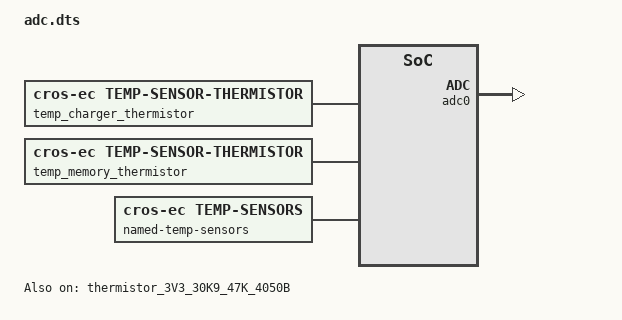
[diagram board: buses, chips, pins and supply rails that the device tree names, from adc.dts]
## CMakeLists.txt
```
# Copyright 2021 The ChromiumOS Authors
# Use of this source code is governed by a BSD-style license that can be
# found in the LICENSE file.

cmake_minimum_required(VERSION 3.13.1)

find_package(Zephyr REQUIRED HINTS "${ZEPHYR_BASE}")

zephyr_library_sources("src/common.c")
zephyr_library_sources("src/power_signals.c")

zephyr_library_sources_ifdef(CONFIG_PLATFORM_EC_USBC
	"src/usb_pd_policy.c"
	"src/usbc_config.c")
zephyr_library_sources_ifdef(CONFIG_PLATFORM_EC_LED_COMMON
	"src/led.c")
zephyr_library_sources_ifdef(CONFIG_PLATFORM_EC_AMD_STT
	"src/stt.c")
zephyr_library_sources_ifdef(CONFIG_PLATFORM_EC_BATTERY
  "battery_present.c")

if(DEFINED CONFIG_BOARD_MORTHAL)
	project(morthal)
	zephyr_library_sources(
		"src/morthal/ppc_config.c"
		"src/morthal/usb_mux_config.c"
)
endif()

if(DEFINED CONFIG_BOARD_SKYRIM)
	project(skyrim)
	cros_ec_library_include_directories_ifdef(CONFIG_BOARD_SKYRIM include)
	zephyr_library_sources(
			"src/skyrim/usb_mux_config.c"
			"src/skyrim/ppc_config.c"
			"src/skyrim/form_factor.c"
			"src/skyrim/alt_charger.c"
			"src/skyrim/keyboard.c"
	)
	zephyr_library_sources_ifdef(CONFIG_PLATFORM_EC_FAN "src/skyrim/fan.c")
endif()

if(DEFINED CONFIG_BOARD_WINTERHOLD)
	project(winterhold)
	zephyr_library_sources(
		"src/winterhold/usb_mux_config.c"
		"src/winterhold/ppc_config.c"
		"src/winterhold/kb_backlight.c"
		"src/winterhold/keyboard.c"
    )
endif()

if(DEFINED CONFIG_BOARD_FROSTFLOW)
	project(frostflow)
	cros_ec_library_include_directories_ifdef(CONFIG_BOARD_FROSTFLOW include)
	zephyr_include_directories("include/frostflow")
	zephyr_library_sources(
			"src/frostflow/usb_mux_config.c"
			"src/frostflow/ppc_config.c"
	)
	zephyr_library_sources_ifdef(CONFIG_PLATFORM_EC_KEYBOARD_CUSTOMIZATION
		"src/frostflow/keyboard.c"
		"src/frostflow/keyboard_customization.c")
endif()
```

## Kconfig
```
# Copyright 2021 The Chromium OS Authors. All rights reserved.
# Use of this source code is governed by a BSD-style license that can be
# found in the LICENSE file.

module = SKYRIM
module-str = Skyrim board-specific Code

config BOARD_SKYRIM
	bool "Google Skyrim Board"
	help
	  Build Google Skyrim reference board.  This board uses an AMD SoC
	  and NPCX9 EC

module = CHARGE
module-str = charge
source "subsys/logging/Kconfig.template.log_config"

module = SWITCH
module-str = switch
source "subsys/logging/Kconfig.template.log_config"


source "Kconfig.zephyr"
```

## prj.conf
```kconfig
# Copyright 2021 The ChromiumOS Authors
# Use of this source code is governed by a BSD-style license that can be
# found in the LICENSE file.

CONFIG_CROS_EC=y
CONFIG_PLATFORM_EC=y
CONFIG_SHIMMED_TASKS=y
CONFIG_ESPI=y

# Shell features
CONFIG_SHELL_HELP=y
CONFIG_SHELL_HISTORY=y
CONFIG_SHELL_TAB=y
CONFIG_SHELL_TAB_AUTOCOMPLETION=y
CONFIG_KERNEL_SHELL=y

# Power sequencing
CONFIG_AP=y
CONFIG_AP_X86_AMD=y
CONFIG_PLATFORM_EC_POWERSEQ=y
CONFIG_PLATFORM_EC_POWER_BUTTON_TO_PCH_CUSTOM=y
CONFIG_PLATFORM_EC_POWER_SLEEP_FAILURE_DETECTION=y
CONFIG_PLATFORM_EC_POWERSEQ_RSMRST_DELAY=y
CONFIG_PLATFORM_EC_POWERSEQ_S0IX=y
CONFIG_PLATFORM_EC_POWERSEQ_CPU_PROCHOT_ACTIVE_LOW=y
CONFIG_PLATFORM_EC_PORT80=y

# Power button
CONFIG_PLATFORM_EC_POWER_BUTTON=y

# ADC
CONFIG_ADC=y

# I2C
CONFIG_I2C=y

# CBI
CONFIG_EEPROM=y
CONFIG_EEPROM_AT24=y
CONFIG_EEPROM_SHELL=n
CONFIG_PLATFORM_EC_BOARD_VERSION_CBI=y
CONFIG_PLATFORM_EC_CBI_EEPROM=y

# Temperature Sensors
CONFIG_PLATFORM_EC_AMD_SB_RMI=y
CONFIG_PLATFORM_EC_AMD_STT=y
CONFIG_PLATFORM_EC_TEMP_SENSOR=y
CONFIG_PLATFORM_EC_TEMP_SENSOR_SB_TSI=y
CONFIG_PLATFORM_EC_THERMISTOR=y
CONFIG_PLATFORM_EC_THROTTLE_AP=y
# An external prochot can only be triggered by the charger
# and during on the fan would increase current draw and make it worse.
CONFIG_PLATFORM_EC_THROTTLE_AP_NO_FAN=y
CONFIG_PLATFORM_EC_THROTTLE_AP_SINGLE_PIN=y

# External power
CONFIG_PLATFORM_EC_HOSTCMD=y
CONFIG_PLATFORM_EC_EXTPOWER_GPIO=y
CONFIG_PLATFORM_EC_BACKLIGHT_LID=y
CONFIG_PLATFORM_EC_BACKLIGHT_LID_ACTIVE_LOW=y

# Lid switch
CONFIG_PLATFORM_EC_LID_ANGLE=y
CONFIG_PLATFORM_EC_LID_ANGLE_UPDATE=y
CONFIG_PLATFORM_EC_LID_SWITCH=y

# Keyboard
CONFIG_PLATFORM_EC_KBLIGHT_ENABLE_PIN=y
CONFIG_PLATFORM_EC_KEYBOARD=y
CONFIG_PLATFORM_EC_KEYBOARD_COL2_INVERTED=y
CONFIG_PLATFORM_EC_VOLUME_BUTTONS=y
CONFIG_PLATFORM_EC_KEYBOARD_PWRBTN_ASSERTS_KSI3=y
CONFIG_PLATFORM_EC_KEYBOARD_REFRESH_ROW3=y

# PWM
CONFIG_PWM=y
CONFIG_PWM_SHELL=n

CONFIG_SYSCON=y

# Battery
CONFIG_PLATFORM_EC_BATTERY=y
CONFIG_PLATFORM_EC_BATTERY_SMART=y
CONFIG_PLATFORM_EC_BATTERY_FUEL_GAUGE=y
CONFIG_PLATFORM_EC_BATTERY_CUT_OFF=y
CONFIG_PLATFORM_EC_BATTERY_PRESENT_GPIO=y
CONFIG_PLATFORM_EC_BATTERY_REVIVE_DISCONNECT=y

# Charger
CONFIG_PLATFORM_EC_CHARGER_DISCHARGE_ON_AC=y
CONFIG_PLATFORM_EC_CHARGER_INPUT_CURRENT=512
CONFIG_PLATFORM_EC_CHARGER_ISL9241=y
CONFIG_PLATFORM_EC_CHARGER_DUMP_PROCHOT=y
CONFIG_PLATFORM_EC_CHARGER_SENSE_RESISTOR=10
CONFIG_PLATFORM_EC_CHARGER_SENSE_RESISTOR_AC=20
CONFIG_PLATFORM_EC_CHARGER_MIN_POWER_MW_FOR_POWER_ON=50000

# USB-A
CONFIG_PLATFORM_EC_USBA=y

# USB-C
CONFIG_PLATFORM_EC_USBC_RETIMER_ANX7451=y
CONFIG_PLATFORM_EC_USBC_RETIMER_PS8811=y
CONFIG_PLATFORM_EC_USBC_SS_MUX_DFP_ONLY=y
CONFIG_PLATFORM_EC_USB_MUX_RUNTIME_CONFIG=y
CONFIG_PLATFORM_EC_USB_DRP_ACC_TRYSRC=y
CONFIG_PLATFORM_EC_USB_PID=0x505F
CONFIG_PLATFORM_EC_USB_PD_5V_EN_CUSTOM=y
CONFIG_PLATFORM_EC_USB_PD_VBUS_DETECT_TCPC=y
CONFIG_PLATFORM_EC_USB_PD_DISCHARGE_TCPC=y
CONFIG_PLATFORM_EC_USB_PD_DP_HPD_GPIO=y
CONFIG_PLATFORM_EC_USB_PD_FRS=y
CONFIG_PLATFORM_EC_USB_PD_FRS_TCPC=y
CONFIG_PLATFORM_EC_USB_PD_LOGGING=y
CONFIG_PLATFORM_EC_USB_PD_REV30=y
CONFIG_PLATFORM_EC_USB_PD_TBT_COMPAT_MODE=n
CONFIG_PLATFORM_EC_USB_PD_TCPC_LOW_POWER=y
CONFIG_PLATFORM_EC_USB_PD_TCPC_RUNTIME_CONFIG=n
CONFIG_PLATFORM_EC_USB_PD_USB4=n
CONFIG_PLATFORM_EC_USB_PD_VBUS_MEASURE_CHARGER=y
# Give ourselves enough task space to use i2ctrace
CONFIG_TASK_PD_STACK_SIZE=1280

# IOEX
CONFIG_GPIO_NCT38XX=y

# Motion sense
CONFIG_PLATFORM_EC_MOTIONSENSE=y
CONFIG_PLATFORM_EC_ACCEL_FIFO=y
CONFIG_PLATFORM_EC_CONSOLE_CMD_ACCELS=y
CONFIG_PLATFORM_EC_CONSOLE_CMD_ACCEL_INFO=y
CONFIG_PLATFORM_EC_LID_ANGLE=y
CONFIG_PLATFORM_EC_LID_ANGLE_UPDATE=y
CONFIG_PLATFORM_EC_SENSOR_TIGHT_TIMESTAMPS=y

CONFIG_PLATFORM_EC_MKBP_EVENT=y
CONFIG_PLATFORM_EC_MKBP_INPUT_DEVICES=y
CONFIG_PLATFORM_EC_MKBP_USE_GPIO=y

CONFIG_PLATFORM_EC_TABLET_MODE=y
CONFIG_PLATFORM_EC_TABLET_MODE_SWITCH=y
CONFIG_PLATFORM_EC_GMR_TABLET_MODE=y

CONFIG_PLATFORM_EC_ACCEL_BMA4XX=y
CONFIG_PLATFORM_EC_ACCELGYRO_BMI3XX=y
CONFIG_PLATFORM_EC_ACCELGYRO_BMI_COMM_I2C=y

# Misc.
CONFIG_PLATFORM_EC_I2C_DEBUG=y
CONFIG_PLATFORM_EC_PORT80_4_BYTE=y

# These are debug options that happen to be expensive in terms of flash space.
# Turn on as needed based on demand.
CONFIG_FLASH_PAGE_LAYOUT=n # 1876 bytes
CONFIG_FLASH_SHELL=n # 1852 bytes
CONFIG_PLATFORM_EC_CONSOLE_CMD_ACCEL_INFO=n # 656 bytes
CONFIG_PLATFORM_EC_CONSOLE_CMD_MEM=n # 896 bytes
# CONFIG_PLATFORM_EC_CONSOLE_CMD_TCPC_DUMP=n # 1180 bytes
CONFIG_PLATFORM_EC_CONSOLE_CMD_USB_PD_CABLE=n # 1104 bytes
CONFIG_THREAD_MONITOR=n # 1548 bytes
```

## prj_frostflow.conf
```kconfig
# Copyright 2022 The ChromiumOS Authors
# Use of this source code is governed by a BSD-style license that can be
# found in the LICENSE file.

# Frostflow reference-board-specific Kconfig settings.
CONFIG_BOARD_FROSTFLOW=y
CONFIG_BOARD_INPUT_CURRENT_SCALE_FACTOR=90

# TODO(b/215404321): Remove later in board development
CONFIG_PLATFORM_EC_EEPROM_CBI_WP=y
CONFIG_PLATFORM_EC_SYSTEM_UNLOCKED=y

# Frostflow is capable of sinking 45W
CONFIG_PLATFORM_EC_PD_MAX_POWER_MW=45000
CONFIG_PLATFORM_EC_PD_MAX_CURRENT_MA=3000
CONFIG_PLATFORM_EC_PD_MAX_VOLTAGE_MV=20000
CONFIG_PLATFORM_EC_CHARGER_MIN_POWER_MW_FOR_POWER_ON=15000
# Only Frostflow has the PCT2075
CONFIG_PLATFORM_EC_TEMP_SENSOR_PCT2075=y

CONFIG_PLATFORM_EC_USBC_RETIMER_ANX7483=y

# Keyboard
CONFIG_PLATFORM_EC_KEYBOARD_CUSTOMIZATION=y

# Frostflow not have the USB HUB
CONFIG_BOARD_USB_HUB_RESET=n

# Battery
CONFIG_PLATFORM_EC_BATTERY_PRESENT_GPIO=y

# Fan
CONFIG_PLATFORM_EC_CUSTOM_FAN_CONTROL=y
```

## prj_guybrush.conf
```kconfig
# Copyright 2021 The ChromiumOS Authors. All rights reserved.
# Use of this source code is governed by a BSD-style license that can be
# found in the LICENSE file.

# Guybrush board-specific Kconfig settings.
CONFIG_BOARD_GUYBRUSH=y

# Only Guybrush has TMP112
CONFIG_PLATFORM_EC_TEMP_SENSOR_TMP112=y
```

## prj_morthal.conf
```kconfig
# Copyright 2022 The ChromiumOS Authors
# Use of this source code is governed by a BSD-style license that can be
# found in the LICENSE file.

# Morthal reference-board-specific Kconfig settings.
CONFIG_BOARD_MORTHAL=y

# TODO(b/215404321): Remove later in board development
CONFIG_PLATFORM_EC_EEPROM_CBI_WP=y
CONFIG_PLATFORM_EC_SYSTEM_UNLOCKED=y

# LED
CONFIG_PLATFORM_EC_LED_DT=y

# Morthal is capable of sinking 100W
CONFIG_PLATFORM_EC_PD_MAX_POWER_MW=100000
CONFIG_PLATFORM_EC_PD_MAX_CURRENT_MA=5000
CONFIG_PLATFORM_EC_PD_MAX_VOLTAGE_MV=20000

CONFIG_PLATFORM_EC_USBC_RETIMER_ANX7483=y
```

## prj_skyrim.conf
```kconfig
# Copyright 2021 The ChromiumOS Authors
# Use of this source code is governed by a BSD-style license that can be
# found in the LICENSE file.

# Skyrim reference-board-specific Kconfig settings.
CONFIG_BOARD_SKYRIM=y

# CBI WP pin present
CONFIG_PLATFORM_EC_EEPROM_CBI_WP=y

# Skyrim is capable of sinking 100W
CONFIG_PLATFORM_EC_PD_MAX_POWER_MW=100000
CONFIG_PLATFORM_EC_PD_MAX_CURRENT_MA=5000
CONFIG_PLATFORM_EC_PD_MAX_VOLTAGE_MV=20000

# Enable alternative charger chip
CONFIG_PLATFORM_EC_CHARGER_RUNTIME_CONFIG=y
CONFIG_PLATFORM_EC_CHARGER_ISL9238C=y
```

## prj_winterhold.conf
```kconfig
# Copyright 2022 The ChromiumOS Authors
# Use of this source code is governed by a BSD-style license that can be
# found in the LICENSE file.

# Winterhold reference-board-specific Kconfig settings.
CONFIG_BOARD_WINTERHOLD=y

# TODO(b/215404321): Remove later in board development
CONFIG_PLATFORM_EC_EEPROM_CBI_WP=y
CONFIG_PLATFORM_EC_SYSTEM_UNLOCKED=y

# LED
CONFIG_PLATFORM_EC_LED_DT=y

# Only Winterhold has the PCT2075
CONFIG_PLATFORM_EC_TEMP_SENSOR_PCT2075=y

CONFIG_PLATFORM_EC_USBC_RETIMER_ANX7483=y

# Enable charger chip
CONFIG_PLATFORM_EC_CHARGER_ISL9238=y
CONFIG_PLATFORM_EC_CHARGER_ISL9241=n

# Get the vbus voltage from TCPC
CONFIG_PLATFORM_EC_USB_PD_VBUS_MEASURE_CHARGER=n
CONFIG_PLATFORM_EC_USB_PD_VBUS_MEASURE_TCPC=y

# Body detection configuration
CONFIG_PLATFORM_EC_BODY_DETECTION=y
CONFIG_PLATFORM_EC_BODY_DETECTION_ALWAYS_ENABLE_IN_S0=y
CONFIG_PLATFORM_EC_BODY_DETECTION_NOTIFY_MODE_CHANGE=y
CONFIG_PLATFORM_EC_GESTURE_HOST_DETECTION=y
```

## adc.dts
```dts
/* Copyright 2021 The ChromiumOS Authors
 * Use of this source code is governed by a BSD-style license that can be
 * found in the LICENSE file.
 */

#include <cros/thermistor/thermistor.dtsi>

/ {
	named-adc-channels {
		compatible = "named-adc-channels";

		adc_temp_charger: temp-charger {
			enum-name = "ADC_TEMP_SENSOR_CHARGER";
			io-channels = <&adc0 1>;
		};
		adc_temp_memory: temp-memory {
			enum-name = "ADC_TEMP_SENSOR_MEMORY";
			io-channels = <&adc0 2>;
		};
		adc_core_imon1: core-imon1 {
			enum-name = "ADC_CORE_IMON1";
			io-channels = <&adc0 3>;
		};
		adc_core_imon2: core-imon2 {
			enum-name = "ADC_SOC_IMON2";
			io-channels = <&adc0 4>;
		};
	};

	s5_domain: s5_domain {
		compatible = "power-domain";
		status = "okay";
	};

	temp_charger_thermistor: charger-thermistor {
		compatible = "cros-ec,temp-sensor-thermistor";
		thermistor = <&thermistor_3V3_30K9_47K_4050B>;
		adc = <&adc_temp_charger>;
	};

	temp_memory_thermistor: memory-thermistor {
		compatible = "cros-ec,temp-sensor-thermistor";
		thermistor = <&thermistor_3V3_30K9_47K_4050B>;
		adc = <&adc_temp_memory>;
	};

	named-temp-sensors {
		compatible = "cros-ec,temp-sensors";
		charger-thermistor {
			temp_host_high = <100>;
			temp_host_halt = <105>;
			temp_host_release_high = <80>;
			sensor = <&temp_charger_thermistor>;
		};

		memory-thermistor {
			temp_host_high = <100>;
			temp_host_halt = <105>;
			temp_host_release_high = <80>;
			power-good-pin = <&gpio_pg_pwr_s5>;
			sensor = <&temp_memory_thermistor>;
		};

		cpu {
			temp_host_high = <100>;
			temp_host_halt = <105>;
			temp_host_release_high = <80>;
			temp_fan_off = <60>;
			temp_fan_max = <90>;
			power-good-pin = <&gpio_s0_pgood>;
			sensor = <&temp_cpu>;
		};
	};
};

&adc0 {
	status = "okay";
	pinctrl-0 = <&adc0_chan1_gp44
		     &adc0_chan2_gp43
		     &adc0_chan3_gp42
		     &adc0_chan4_gp41>;
	pinctrl-names = "default";
};

&thermistor_3V3_30K9_47K_4050B {
	status = "okay";
};
```

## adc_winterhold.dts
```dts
/* Copyright 2021 The ChromiumOS Authors
 * Use of this source code is governed by a BSD-style license that can be
 * found in the LICENSE file.
 */

#include <cros/thermistor/thermistor.dtsi>

/ {
	named-adc-channels {
		compatible = "named-adc-channels";

		adc_temp_charger: temp-charger {
			enum-name = "ADC_TEMP_SENSOR_CHARGER";
			io-channels = <&adc0 1>;
		};
		adc_temp_memory: temp-memory {
			enum-name = "ADC_TEMP_SENSOR_MEMORY";
			io-channels = <&adc0 2>;
		};
		adc_core_imon1: core-imon1 {
			enum-name = "ADC_CORE_IMON1";
			io-channels = <&adc0 3>;
		};
		adc_core_imon2: core-imon2 {
			enum-name = "ADC_SOC_IMON2";
			io-channels = <&adc0 4>;
		};
	};

	temp_charger_thermistor: charger-thermistor {
		compatible = "cros-ec,temp-sensor-thermistor";
		thermistor = <&thermistor_3V3_30K9_47K_4050B>;
		adc = <&adc_temp_charger>;
	};

	temp_memory_thermistor: memory-thermistor {
		compatible = "cros-ec,temp-sensor-thermistor";
		thermistor = <&thermistor_3V3_30K9_47K_4050B>;
		adc = <&adc_temp_memory>;
	};

	named-temp-sensors {
		compatible = "cros-ec,temp-sensors";
		charger-thermistor {
			temp_host_high = <100>;
			temp_host_halt = <110>;
			temp_host_release_high = <90>;
			temp_host_release_halt = <100>;
			sensor = <&temp_charger_thermistor>;
		};

		memory-thermistor {
			temp_host_high = <91>;
			temp_host_halt = <96>;
			temp_host_release_high = <81>;
			temp_host_release_halt = <86>;
			power-good-pin = <&gpio_pg_pwr_s5>;
			sensor = <&temp_memory_thermistor>;
		};

		cpu {
			power-good-pin = <&gpio_s0_pgood>;
			sensor = <&temp_cpu>;
		};
	};
};

&adc0 {
	status = "okay";
	pinctrl-0 = <&adc0_chan1_gp44
		     &adc0_chan2_gp43
		     &adc0_chan3_gp42
		     &adc0_chan4_gp41>;
	pinctrl-names = "default";
};

&thermistor_3V3_30K9_47K_4050B {
	status = "okay";
};
```

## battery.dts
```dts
/* Copyright 2021 The ChromiumOS Authors. All rights reserved.
 * Use of this source code is governed by a BSD-style license that can be
 * found in the LICENSE file.
 */

/ {
	batteries {
		default_battery: aec_5477109 {
			compatible = "aec,5477109", "battery-smart";
		};
		smp_l20m3pg1 {
			compatible = "smp,l20m3pg1", "battery-smart";
		};
	};
};
```

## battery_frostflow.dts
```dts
/* Copyright 2022 The ChromiumOS Authors
 * Use of this source code is governed by a BSD-style license that can be
 * found in the LICENSE file.
 */

/ {
	batteries {
		default_battery: c340152 {
			compatible = "as3fxxd3kb,c340152", "battery-smart";
		};
	};
};
```

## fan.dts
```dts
/* Copyright 2021 The ChromiumOS Authors. All rights reserved.
 * Use of this source code is governed by a BSD-style license that can be
 * found in the LICENSE file.
 */

/ {
	fans {
		compatible = "cros-ec,fans";

		fan_0 {
			pwms = <&pwm0 0 PWM_KHZ(25) PWM_POLARITY_NORMAL>;
			rpm_min = <3100>;
			rpm_start = <3100>;
			rpm_max = <8000>;
			tach = <&tach1>;
			pgood_gpio = <&gpio_s0_pgood>;
		};
	};
};

/* Tachemeter for fan speed measurement */
&tach1 {
	status = "okay";
	pinctrl-0 = <&ta1_1_in_gp40>;
	pinctrl-names = "default";
	port = <NPCX_TACH_PORT_A>; /* port-A is selected */
	sample-clk = <NPCX_TACH_FREQ_LFCLK>; /* Use LFCLK as sampling clock */
	pulses-per-round = <2>; /* number of pulses per round of encoder */
};

&pwm0_gpc3 {
	drive-open-drain;
};

&pwm0 {
	status = "okay";
	pinctrl-0 = <&pwm0_gpc3>;
	pinctrl-names = "default";
};
```

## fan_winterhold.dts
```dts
/* Copyright 2021 The ChromiumOS Authors
 * Use of this source code is governed by a BSD-style license that can be
 * found in the LICENSE file.
 */

/ {
	fans {
		compatible = "cros-ec,fans";

		fan_0 {
			pwms = <&pwm0 0 PWM_KHZ(2) PWM_POLARITY_NORMAL>;
			rpm_min = <2100>;
			rpm_start = <2600>;
			rpm_max = <4700>;
			tach = <&tach1>;
			pgood_gpio = <&gpio_s0_pgood>;
		};
	};
};

/* Tachemeter for fan speed measurement */
&tach1 {
	status = "okay";
	pinctrl-0 = <&ta1_1_in_gp40>;
	pinctrl-names = "default";
	port = <NPCX_TACH_PORT_A>; /* port-A is selected */
	sample-clk = <NPCX_TACH_FREQ_LFCLK>; /* Use LFCLK as sampling clock */
	pulses-per-round = <2>; /* number of pulses per round of encoder */
};

&pwm0_gpc3 {
	drive-open-drain;
};

&pwm0 {
	status = "okay";
	pinctrl-0 = <&pwm0_gpc3>;
	pinctrl-names = "default";
};
```

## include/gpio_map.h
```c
/* Copyright 2021 The ChromiumOS Authors. All rights reserved.
 * Use of this source code is governed by a BSD-style license that can be
 * found in the LICENSE file.
 */

#ifndef __ZEPHYR_GPIO_MAP_H
#define __ZEPHYR_GPIO_MAP_H

#include <zephyr/devicetree.h>
#include <gpio_signal.h>

#define GPIO_ENTERING_RW GPIO_UNIMPLEMENTED
#define GPIO_PCH_SYS_PWROK GPIO_UNIMPLEMENTED

#endif /* __ZEPHYR_GPIO_MAP_H */
```

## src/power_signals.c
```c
/* Copyright 2021 The ChromiumOS Authors
 * Use of this source code is governed by a BSD-style license that can be
 * found in the LICENSE file.
 */

#include "ap_power/ap_power.h"
#include "charger.h"
#include "chipset.h"
#include "config.h"
#include "gpio_signal.h"
#include "gpio/gpio_int.h"
#include "hooks.h"
#include "i2c.h"
#include "ioexpander.h"
#include "power.h"
#include "power/amd_x86.h"
#include "throttle_ap.h"
#include "timer.h"

/* Power Signal Input List */
/* TODO: b/218904113: Convert to using Zephyr GPIOs */
const struct power_signal_info power_signal_list[] = {
	[X86_SLP_S3_N] = {
		.gpio = GPIO_PCH_SLP_S3_L,
		.flags = POWER_SIGNAL_ACTIVE_HIGH,
		.name = "SLP_S3_DEASSERTED",
	},
	[X86_SLP_S5_N] = {
		.gpio = GPIO_PCH_SLP_S5_L,
		.flags = POWER_SIGNAL_ACTIVE_HIGH,
		.name = "SLP_S5_DEASSERTED",
	},
	[X86_S0_PGOOD] = {
		.gpio = GPIO_S0_PGOOD,
		.flags = POWER_SIGNAL_ACTIVE_HIGH,
		.name = "S0_PGOOD",
	},
	[X86_S5_PGOOD] = {
		.gpio = GPIO_S5_PGOOD,
		.flags = POWER_SIGNAL_ACTIVE_HIGH,
		.name = "S5_PGOOD",
	},
};
BUILD_ASSERT(ARRAY_SIZE(power_signal_list) == POWER_SIGNAL_COUNT);

static void handle_prochot(bool asserted, void *data);

const struct prochot_cfg prochot_cfg = {
	.gpio_prochot_in = GPIO_CPU_PROCHOT,
	.callback = handle_prochot,
};

/* Chipset hooks */
static void baseboard_suspend_change(struct ap_power_ev_callback *cb,
				     struct ap_power_ev_data data)
{
	switch (data.event) {
	default:
		return;

	case AP_POWER_SUSPEND:
		/* Disable display backlight and retimer */
		gpio_pin_set_dt(GPIO_DT_FROM_NODELABEL(gpio_ec_disable_disp_bl),
				1);
		ioex_set_level(IOEX_USB_A1_RETIMER_EN, 0);
		break;

	case AP_POWER_RESUME:
		/* Enable retimer and display backlight */
		gpio_pin_set_dt(GPIO_DT_FROM_NODELABEL(gpio_ec_disable_disp_bl),
				0);
		ioex_set_level(IOEX_USB_A1_RETIMER_EN, 1);
		/* Any retimer tuning can be done after the retimer turns on */
		break;
	}
}

static void check_charger_prochot(void)
{
	print_charger_prochot(CHARGER_SOLO);
}
DECLARE_DEFERRED(check_charger_prochot);

static void handle_prochot(bool asserted, void *data)
{
	if (asserted) {
		ccprints("Charger prochot asserted externally");
		hook_call_deferred(&check_charger_prochot_data, 0);
	} else
		ccprints("Charger prochot deasserted externally");
}

static void baseboard_init(void)
{
	static struct ap_power_ev_callback cb;

	/* Setup a suspend/resume callback */
	ap_power_ev_init_callback(&cb, baseboard_suspend_change,
				  AP_POWER_RESUME | AP_POWER_SUSPEND);
	ap_power_ev_add_callback(&cb);
	/* Enable Power Group interrupts. */
	gpio_enable_dt_interrupt(GPIO_INT_FROM_NODELABEL(int_pg_groupc_s0));
	gpio_enable_dt_interrupt(GPIO_INT_FROM_NODELABEL(int_pg_lpddr_s0));
	gpio_enable_dt_interrupt(GPIO_INT_FROM_NODELABEL(int_pg_lpddr_s3));

	/* Enable thermtrip interrupt */
	gpio_enable_dt_interrupt(GPIO_INT_FROM_NODELABEL(int_soc_thermtrip));

	/* Enable prochot interrupt */
	gpio_enable_dt_interrupt(GPIO_INT_FROM_NODELABEL(int_prochot));
	throttle_ap_config_prochot(&prochot_cfg);
}
DECLARE_HOOK(HOOK_INIT, baseboard_init, HOOK_PRIO_POST_I2C);

/**
 * b/227296844: On G3->S5, wait for RSMRST_L to be deasserted before asserting
 * PCH_PWRBTN_L.  This can be as long as ~65ms after cold boot.  Then wait an
 * additional delay of T1a defined in the EDS before changing the power button.
 */
#define RSMRST_WAIT_DELAY 70
#define EDS_PWR_BTN_RSMRST_T1A_DELAY 16
void board_pwrbtn_to_pch(int level)
{
	timestamp_t start;

	/* Add delay for G3 exit if asserting PWRBTN_L and RSMRST_L is low. */
	if (!level &&
	    !gpio_pin_get_dt(GPIO_DT_FROM_NODELABEL(gpio_ec_soc_rsmrst_l))) {
		start = get_time();
		do {
			usleep(500);
			if (gpio_pin_get_dt(GPIO_DT_FROM_NODELABEL(
				    gpio_ec_soc_rsmrst_l)))
				break;
		} while (time_since32(start) < (RSMRST_WAIT_DELAY * MSEC));

		if (!gpio_pin_get_dt(
			    GPIO_DT_FROM_NODELABEL(gpio_ec_soc_rsmrst_l)))
			ccprints("Error pwrbtn: RSMRST_L still low");

		msleep(EDS_PWR_BTN_RSMRST_T1A_DELAY);
	}
	gpio_pin_set_dt(GPIO_DT_FROM_NODELABEL(gpio_ec_soc_pwr_btn_l), level);
}

/* Note: signal parameter unused */
void baseboard_set_soc_pwr_pgood(enum gpio_signal unused)
{
	gpio_pin_set_dt(
		GPIO_DT_FROM_NODELABEL(gpio_ec_soc_pwr_good),
		gpio_pin_get_dt(
			GPIO_DT_FROM_NODELABEL(gpio_en_pwr_pcore_s0_r)) &&
			gpio_pin_get_dt(
				GPIO_DT_FROM_NODELABEL(gpio_pg_lpddr5_s0_od)) &&
			gpio_pin_get_dt(GPIO_DT_FROM_NODELABEL(gpio_s0_pgood)));
}

/* TODO(b/248284045): Remove when boards switch to new chip */
#define MP2845A_I2C_ADDR_FLAGS 0x20
#define MP2854A_MFR_VOUT_CMPS_MAX_REG 0x69
#define MP2854A_MFR_LOW_PWR_SEL BIT(12)

__overridable bool board_supports_pcore_ocp(void)
{
	return true;
}

static void setup_mp2845(void)
{
	if (i2c_update16(chg_chips[CHARGER_SOLO].i2c_port,
			 MP2845A_I2C_ADDR_FLAGS, MP2854A_MFR_VOUT_CMPS_MAX_REG,
			 MP2854A_MFR_LOW_PWR_SEL, MASK_CLR))
		ccprints("Failed to send mp2845 workaround");

	if (board_supports_pcore_ocp())
		gpio_enable_dt_interrupt(
			GPIO_INT_FROM_NODELABEL(int_soc_pcore_ocp));
}
DECLARE_DEFERRED(setup_mp2845);

void baseboard_s0_pgood(enum gpio_signal signal)
{
	baseboard_set_soc_pwr_pgood(signal);

	/* Chain off power signal interrupt handler for PG_PCORE_S0_R_OD */
	power_signal_interrupt(signal);

	/* Set up the MP2845, which is powered in S0 */
	if (gpio_pin_get_dt(GPIO_DT_FROM_NODELABEL(gpio_s0_pgood)))
		hook_call_deferred(&setup_mp2845_data, 50 * MSEC);
	else
		gpio_disable_dt_interrupt(
			GPIO_INT_FROM_NODELABEL(int_soc_pcore_ocp));
}

/* Note: signal parameter unused */
void baseboard_set_en_pwr_pcore(enum gpio_signal unused)
{
	/*
	 * EC must AND signals PG_LPDDR5_S3_OD, PG_GROUPC_S0_OD, and
	 * EN_PWR_S0_R
	 */
	gpio_pin_set_dt(
		GPIO_DT_FROM_NODELABEL(gpio_en_pwr_pcore_s0_r),
		gpio_pin_get_dt(GPIO_DT_FROM_NODELABEL(gpio_pg_lpddr5_s3_od)) &&
			gpio_pin_get_dt(
				GPIO_DT_FROM_NODELABEL(gpio_pg_groupc_s0_od)) &&
			gpio_pin_get_dt(
				GPIO_DT_FROM_NODELABEL(gpio_en_pwr_s0_r)));

	/* Update EC_SOC_PWR_GOOD based on our results */
	baseboard_set_soc_pwr_pgood(unused);
}

void baseboard_en_pwr_s0(enum gpio_signal signal)
{
	/* EC must AND signals SLP_S3_L and PG_PWR_S5 */
	gpio_pin_set_dt(
		GPIO_DT_FROM_NODELABEL(gpio_en_pwr_s0_r),
		gpio_pin_get_dt(GPIO_DT_FROM_NODELABEL(gpio_slp_s3_l)) &&
			gpio_pin_get_dt(
				GPIO_DT_FROM_NODELABEL(gpio_pg_pwr_s5)));

	/* Change EN_PWR_PCORE_S0_R if needed*/
	baseboard_set_en_pwr_pcore(signal);

	/* Now chain off to the normal power signal interrupt handler. */
	power_signal_interrupt(signal);
}
#ifdef CONFIG_BOARD_USB_HUB_RESET
void baseboard_enable_hub(void)
{
	gpio_pin_set_dt(GPIO_DT_FROM_NODELABEL(gpio_hub_rst), 0);
}
DECLARE_DEFERRED(baseboard_enable_hub);
#endif /* CONFIG_BOARD_USB_HUB_RESET */

void baseboard_s5_pgood(enum gpio_signal signal)
{
#ifdef CONFIG_BOARD_USB_HUB_RESET
	/* We must enable the USB hub at least 30ms after S5 PGOOD */
	if (gpio_pin_get_dt(GPIO_DT_FROM_NODELABEL(gpio_pg_pwr_s5)))
		hook_call_deferred(&baseboard_enable_hub_data, 30 * MSEC);
	else
		gpio_pin_set_dt(GPIO_DT_FROM_NODELABEL(gpio_hub_rst), 1);
#endif /* CONFIG_BOARD_USB_HUB_RESET */

	/* Continue to our signal AND-ing and power interrupt */
	baseboard_en_pwr_s0(signal);
}

void baseboard_set_en_pwr_s3(enum gpio_signal signal)
{
	/* EC must enable PWR_S3 when SLP_S5_L goes high, disable on low */
	gpio_pin_set_dt(GPIO_DT_FROM_NODELABEL(gpio_en_pwr_s3),
			gpio_pin_get_dt(GPIO_DT_FROM_NODELABEL(gpio_slp_s5_l)));

	/* Chain off the normal power signal interrupt handler */
	power_signal_interrupt(signal);
}

void baseboard_soc_thermtrip(enum gpio_signal signal)
{
	ccprints("SoC thermtrip reported, shutting down");
	chipset_force_shutdown(CHIPSET_SHUTDOWN_THERMAL);
}

void baseboard_soc_pcore_ocp(enum gpio_signal signal)
{
	ccprints("SoC Pcore OCP reported, shutting down");
	chipset_force_shutdown(CHIPSET_SHUTDOWN_BOARD_CUSTOM);
}
```

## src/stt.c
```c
/* Copyright 2022 The ChromiumOS Authors.
 * Use of this source code is governed by a BSD-style license that can be
 * found in the LICENSE file.
 */

/* Support code for STT temperature reporting */

#include "chipset.h"
#include "temp_sensor/pct2075.h"
#include "temp_sensor/temp_sensor.h"

int board_get_soc_temp_mk(int *temp_mk)
{
	if (chipset_in_state(CHIPSET_STATE_HARD_OFF))
		return EC_ERROR_NOT_POWERED;

	return pct2075_get_val_mk(PCT2075_SENSOR_ID(DT_NODELABEL(soc_pct2075)),
				  temp_mk);
}

int board_get_ambient_temp_mk(int *temp_mk)
{
	if (chipset_in_state(CHIPSET_STATE_HARD_OFF))
		return EC_ERROR_NOT_POWERED;

	return pct2075_get_val_mk(PCT2075_SENSOR_ID(DT_NODELABEL(amb_pct2075)),
				  temp_mk);
}
```

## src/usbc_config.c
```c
/* Copyright 2021 The ChromiumOS Authors
 * Use of this source code is governed by a BSD-style license that can be
 * found in the LICENSE file.
 */

/* Skyrim family-specific USB-C configuration */

#include <zephyr/drivers/gpio.h>

#include "cros_board_info.h"
#include "cros_cbi.h"
#include "battery_fuel_gauge.h"
#include "charge_manager.h"
#include "charge_ramp.h"
#include "charge_state_v2.h"
#include "charge_state.h"
#include "charger.h"
#include "driver/bc12/pi3usb9201.h"
#include "driver/charger/isl923x_public.h"
#include "driver/charger/isl9241.h"
#include "driver/ppc/nx20p348x.h"
#include "driver/retimer/anx7483_public.h"
#include "driver/retimer/ps8811.h"
#include "driver/retimer/ps8818_public.h"
#include "driver/tcpm/nct38xx.h"
#include "driver/usb_mux/amd_fp6.h"
#include "gpio/gpio_int.h"
#include "hooks.h"
#include "ioexpander.h"
#include "power.h"
#include "usb_mux.h"
#include "usb_pd_tcpm.h"
#include "usbc_ppc.h"
#include "usbc/usb_muxes.h"

#define CPRINTSUSB(format, args...) cprints(CC_USBCHARGE, format, ##args)
#define CPRINTFUSB(format, args...) cprintf(CC_USBCHARGE, format, ##args)

/* USB-A ports */
enum usba_port { USBA_PORT_A0 = 0, USBA_PORT_A1, USBA_PORT_COUNT };

/* USB-C ports */
enum usbc_port { USBC_PORT_C0 = 0, USBC_PORT_C1, USBC_PORT_COUNT };
BUILD_ASSERT(USBC_PORT_COUNT == CONFIG_USB_PD_PORT_MAX_COUNT);

static void reset_nct38xx_port(int port);

static void usbc_interrupt_init(void)
{
	/* Enable PPC interrupts. */
	gpio_enable_dt_interrupt(GPIO_INT_FROM_NODELABEL(int_usb_c0_ppc));
	gpio_enable_dt_interrupt(GPIO_INT_FROM_NODELABEL(int_usb_c1_ppc));

	/* Enable TCPC interrupts. */
	gpio_enable_dt_interrupt(GPIO_INT_FROM_NODELABEL(int_usb_c0_tcpc));
	gpio_enable_dt_interrupt(GPIO_INT_FROM_NODELABEL(int_usb_c1_tcpc));

	/* Enable BC 1.2 interrupts */
	gpio_enable_dt_interrupt(GPIO_INT_FROM_NODELABEL(int_usb_c0_bc12));
	gpio_enable_dt_interrupt(GPIO_INT_FROM_NODELABEL(int_usb_c1_bc12));

	/* Enable SBU fault interrupts */
	gpio_enable_dt_interrupt(GPIO_INT_FROM_NODELABEL(int_usb_c0_sbu_fault));
	gpio_enable_dt_interrupt(GPIO_INT_FROM_NODELABEL(int_usb_c1_sbu_fault));
}
DECLARE_HOOK(HOOK_INIT, usbc_interrupt_init, HOOK_PRIO_POST_I2C);

static void usb_fault_interrupt_init(void)
{
	/* Enable USB fault interrupts when we hit S5 */
	gpio_enable_dt_interrupt(GPIO_INT_FROM_NODELABEL(int_usb_hub_fault));
	gpio_enable_dt_interrupt(GPIO_INT_FROM_NODELABEL(int_usb_a0_fault));
	gpio_enable_dt_interrupt(GPIO_INT_FROM_NODELABEL(int_usb_a1_fault));
}
DECLARE_HOOK(HOOK_CHIPSET_STARTUP, usb_fault_interrupt_init, HOOK_PRIO_DEFAULT);

static void usb_fault_interrupt_disable(void)
{
	/* Disable USB fault interrupts leaving S5 */
	gpio_disable_dt_interrupt(GPIO_INT_FROM_NODELABEL(int_usb_hub_fault));
	gpio_disable_dt_interrupt(GPIO_INT_FROM_NODELABEL(int_usb_a0_fault));
	gpio_disable_dt_interrupt(GPIO_INT_FROM_NODELABEL(int_usb_a1_fault));
}
DECLARE_HOOK(HOOK_CHIPSET_SHUTDOWN, usb_fault_interrupt_disable,
	     HOOK_PRIO_DEFAULT);

int board_set_active_charge_port(int port)
{
	int is_valid_port = (port >= 0 && port < CONFIG_USB_PD_PORT_MAX_COUNT);
	int i;
	int rv;

	if (port == CHARGE_PORT_NONE) {
		CPRINTSUSB("Disabling all charger ports");

		/* Disable all ports. */
		for (i = 0; i < ppc_cnt; i++) {
			/*
			 * If this port had booted in dead battery mode, go
			 * ahead and reset it so EN_SNK responds properly.
			 */
			if (nct38xx_get_boot_type(i) ==
			    NCT38XX_BOOT_DEAD_BATTERY) {
				reset_nct38xx_port(i);
				pd_set_error_recovery(i);
			}

			/*
			 * Do not return early if one fails otherwise we can
			 * get into a boot loop assertion failure.
			 */
			if (ppc_vbus_sink_enable(i, 0))
				CPRINTSUSB("Disabling C%d as sink failed.", i);
		}

		return EC_SUCCESS;
	} else if (!is_valid_port) {
		return EC_ERROR_INVAL;
	}

	/*
	 * Check if we can reset any ports in dead battery mode
	 *
	 * The NCT3807 may continue to keep EN_SNK low on the dead battery port
	 * and allow a dangerous level of voltage to pass through to the initial
	 * charge port (see b/183660105).  We must reset the ports if we have
	 * sufficient battery to do so, which will bring EN_SNK back under
	 * normal control.
	 */
	rv = EC_SUCCESS;
	for (i = 0; i < board_get_usb_pd_port_count(); i++) {
		if (nct38xx_get_boot_type(i) == NCT38XX_BOOT_DEAD_BATTERY) {
			CPRINTSUSB("Found dead battery on %d", i);
			/*
			 * If we have battery, get this port reset ASAP.
			 * This means temporarily rejecting charge manager
			 * sets to it.
			 */
			if (pd_is_battery_capable()) {
				reset_nct38xx_port(i);
				pd_set_error_recovery(i);

				if (port == i)
					rv = EC_ERROR_INVAL;
			} else if (port != i) {
				/*
				 * If other port is selected and in dead battery
				 * mode, reset this port.  Otherwise, reject
				 * change because we'll brown out.
				 */
				if (nct38xx_get_boot_type(port) ==
				    NCT38XX_BOOT_DEAD_BATTERY) {
					reset_nct38xx_port(i);
					pd_set_error_recovery(i);
				} else {
					rv = EC_ERROR_INVAL;
				}
			}
		}
	}

	if (rv != EC_SUCCESS)
		return rv;

	/* Check if the port is sourcing VBUS. */
	if (tcpm_get_src_ctrl(port)) {
		CPRINTSUSB("Skip enable C%d", port);
		return EC_ERROR_INVAL;
	}

	CPRINTSUSB("New charge port: C%d", port);

	/*
	 * Turn off the other ports' sink path FETs, before enabling the
	 * requested charge port.
	 */
	for (i = 0; i < ppc_cnt; i++) {
		if (i == port)
			continue;

		if (ppc_vbus_sink_enable(i, 0))
			CPRINTSUSB("C%d: sink path disable failed.", i);
	}

	/* Enable requested charge port. */
	if (ppc_vbus_sink_enable(port, 1)) {
		CPRINTSUSB("C%d: sink path enable failed.", port);
		return EC_ERROR_UNKNOWN;
	}

	return EC_SUCCESS;
}

void board_set_charge_limit(int port, int supplier, int charge_ma, int max_ma,
			    int charge_mv)
{
	charge_ma = (charge_ma * CONFIG_BOARD_INPUT_CURRENT_SCALE_FACTOR) / 100;

	charge_set_input_current_limit(
		MAX(charge_ma, CONFIG_CHARGER_INPUT_CURRENT), charge_mv);
}

void sbu_fault_interrupt(enum gpio_signal signal)
{
	int port = signal == IOEX_USB_C1_FAULT_ODL ? 1 : 0;

	CPRINTSUSB("C%d: SBU fault", port);
	pd_handle_overcurrent(port);
}

void usb_fault_interrupt(enum gpio_signal signal)
{
	int out;

	CPRINTSUSB("USB fault(%d), alerting the SoC", signal);
	out = gpio_pin_get_dt(
		      GPIO_DT_FROM_NODELABEL(gpio_usb_hub_fault_q_odl)) &&
	      gpio_pin_get_dt(GPIO_DT_FROM_NODELABEL(ioex_usb_a0_fault_odl)) &&
	      gpio_pin_get_dt(GPIO_DT_FROM_NODELABEL(ioex_usb_a1_fault_db_odl));

	gpio_pin_set_dt(GPIO_DT_FROM_NODELABEL(gpio_usb_fault_odl), out);
}

void usb_pd_soc_interrupt(enum gpio_signal signal)
{
	/*
	 * This interrupt is unexpected with our use of the SoC mux, so just log
	 * it as a point of interest.
	 */
	CPRINTSUSB("SOC PD Interrupt");
}

#ifdef CONFIG_CHARGER_ISL9241
/* Round up 3250 max current to multiple of 128mA for ISL9241 AC prochot. */
static void charger_prochot_init_isl9241(void)
{
	isl9241_set_ac_prochot(CHARGER_SOLO, CONFIG_AC_PROCHOT_CURRENT_MA);
}
DECLARE_HOOK(HOOK_INIT, charger_prochot_init_isl9241, HOOK_PRIO_DEFAULT);
#endif /* CONFIG_CHARGER_ISL9241 */

#ifdef CONFIG_CHARGER_ISL9238
static void charger_prochot_init_isl9238(void)
{
	isl923x_set_ac_prochot(CHARGER_SOLO, CONFIG_AC_PROCHOT_CURRENT_MA);
	isl923x_set_dc_prochot(CHARGER_SOLO, CONFIG_DC_PROCHOT_CURRENT_MA);
}
DECLARE_HOOK(HOOK_INIT, charger_prochot_init_isl9238, HOOK_PRIO_DEFAULT);
#endif /* CONFIG_CHARGER_ISL9238 */

static void reset_nct38xx_port(int port)
{
	const struct gpio_dt_spec *reset_gpio_l;
	const struct device *ioex_port0, *ioex_port1;

	/* TODO(b/225189538): Save and restore ioex signals */
	if (port == USBC_PORT_C0) {
		reset_gpio_l = GPIO_DT_FROM_NODELABEL(gpio_usb_c0_tcpc_rst_l);
		ioex_port0 = DEVICE_DT_GET(DT_NODELABEL(ioex_c0_port0));
		ioex_port1 = DEVICE_DT_GET(DT_NODELABEL(ioex_c0_port1));
	} else if (port == USBC_PORT_C1) {
		reset_gpio_l = GPIO_DT_FROM_NODELABEL(gpio_usb_c1_tcpc_rst_l);
		ioex_port0 = DEVICE_DT_GET(DT_NODELABEL(ioex_c1_port0));
		ioex_port1 = DEVICE_DT_GET(DT_NODELABEL(ioex_c1_port1));
	} else {
		/* Invalid port: do nothing */
		return;
	}

	gpio_pin_set_dt(reset_gpio_l, 0);
	msleep(NCT38XX_RESET_HOLD_DELAY_MS);
	gpio_pin_set_dt(reset_gpio_l, 1);
	nct38xx_reset_notify(port);
	if (NCT3807_RESET_POST_DELAY_MS != 0)
		msleep(NCT3807_RESET_POST_DELAY_MS);

	/* Re-enable the IO expander pins */
	gpio_reset_port(ioex_port0);
	gpio_reset_port(ioex_port1);
}

void board_reset_pd_mcu(void)
{
	/* Reset TCPC0 */
	reset_nct38xx_port(USBC_PORT_C0);

	/* Reset TCPC1 */
	reset_nct38xx_port(USBC_PORT_C1);
}

uint16_t tcpc_get_alert_status(void)
{
	uint16_t status = 0;

	/*
	 * Check which port has the ALERT line set and ignore if that TCPC has
	 * its reset line active.
	 */
	if (!gpio_pin_get_dt(
		    GPIO_DT_FROM_NODELABEL(gpio_usb_c0_tcpc_int_odl))) {
		if (gpio_pin_get_dt(GPIO_DT_FROM_NODELABEL(
			    gpio_usb_c0_tcpc_rst_l)) != 0)
			status |= PD_STATUS_TCPC_ALERT_0;
	}

	if (!gpio_pin_get_dt(
		    GPIO_DT_FROM_NODELABEL(gpio_usb_c1_tcpc_int_odl))) {
		if (gpio_pin_get_dt(GPIO_DT_FROM_NODELABEL(
			    gpio_usb_c1_tcpc_rst_l)) != 0)
			status |= PD_STATUS_TCPC_ALERT_1;
	}

	return status;
}

void bc12_interrupt(enum gpio_signal signal)
{
	switch (signal) {
	case GPIO_USB_C0_BC12_INT_ODL:
		usb_charger_task_set_event(0, USB_CHG_EVENT_BC12);
		break;

	case GPIO_USB_C1_BC12_INT_ODL:
		usb_charger_task_set_event(1, USB_CHG_EVENT_BC12);
		break;

	default:
		break;
	}
}

/**
 * Return if VBUS is sagging too low
 *
 * For legacy BC1.2 charging with CONFIG_CHARGE_RAMP_SW, ramp up input current
 * until voltage drops to 4.5V. Don't go lower than this to be kind to the
 * charger (see b/67964166).
 */
#define BC12_MIN_VOLTAGE 4500
int board_is_vbus_too_low(int port, enum chg_ramp_vbus_state ramp_state)
{
	int voltage = 0;
	int rv;

	rv = charger_get_vbus_voltage(port, &voltage);

	if (rv) {
		CPRINTSUSB("%s rv=%d", __func__, rv);
		return 0;
	}

	/*
	 * b/168569046: The ISL9241 sometimes incorrectly reports 0 for unknown
	 * reason, causing ramp to stop at 0.5A. Workaround this by ignoring 0.
	 * This partly defeats the point of ramping, but will still catch
	 * VBUS below 4.5V and above 0V.
	 */
	if (voltage == 0) {
		CPRINTSUSB("%s vbus=0", __func__);
		return 0;
	}

	if (voltage < BC12_MIN_VOLTAGE)
		CPRINTSUSB("%s vbus=%d", __func__, voltage);

	return voltage < BC12_MIN_VOLTAGE;
}

#define SAFE_RESET_VBUS_DELAY_MS 900
#define SAFE_RESET_VBUS_MV 5000
void board_hibernate(void)
{
	int port;
	enum ec_error_list ret;

	/*
	 * If we are charging, then drop the Vbus level down to 5V to ensure
	 * that we don't get locked out of the 6.8V OVLO for our PPCs in
	 * dead-battery mode. This is needed when the TCPC/PPC rails go away.
	 * (b/79218851, b/143778351, b/147007265)
	 */
	port = charge_manager_get_active_charge_port();
	if (port != CHARGE_PORT_NONE) {
		pd_request_source_voltage(port, SAFE_RESET_VBUS_MV);

		/* Give PD task and PPC chip time to get to 5V */
		msleep(SAFE_RESET_VBUS_DELAY_MS);
	}

	/* Try to put our battery fuel gauge into sleep mode */
	ret = battery_sleep_fuel_gauge();
	if ((ret != EC_SUCCESS) && (ret != EC_ERROR_UNIMPLEMENTED))
		cprints(CC_SYSTEM, "Failed to send battery sleep command");
}
```
